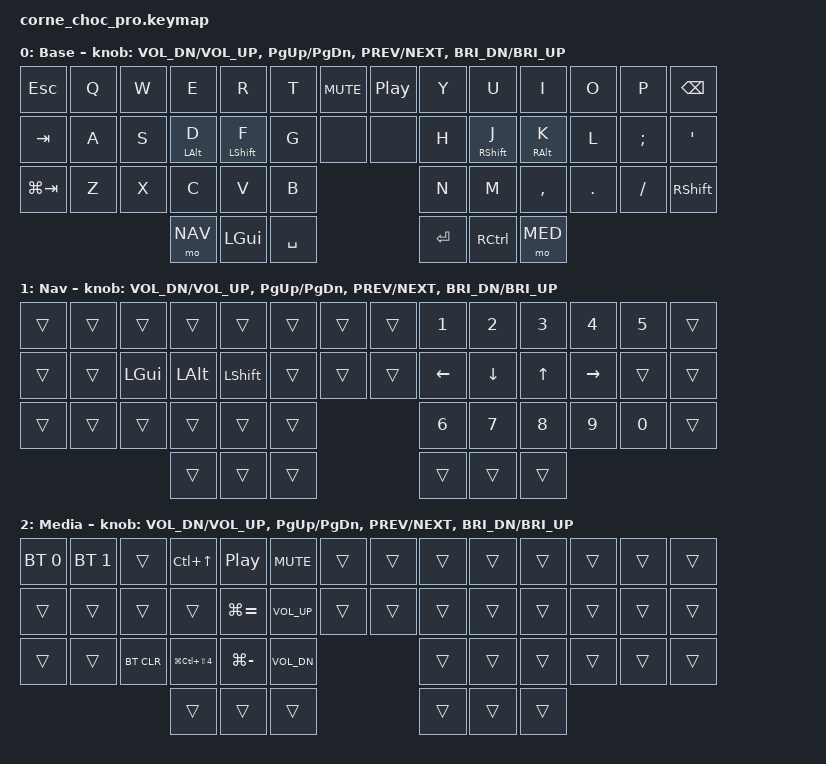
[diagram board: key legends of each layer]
/*
 * Keebart Corne Choc Pro BT — ZMK Config
 * Adapted from 42-key Corne config for 46-key Keebart layout
 *
 * Base: QWERTY with timeless homerow mods (Shift on F/J, Option on D/K)
 * Layer 1: Numbers + Navigation (HJKL arrows)
 * Layer 2: Media + Bluetooth
 * Combos: Brackets, symbols, editing shortcuts
 *
 * Key position reference (46-key Keebart Corne Choc Pro):
 *
 *  0  1  2  3  4  5  6       7  8  9 10 11 12 13
 * 14 15 16 17 18 19 20      21 22 23 24 25 26 27
 * 28 29 30 31 32 33             34 35 36 37 38 39
 *             40 41 42      43 44 45
 *
 * Positions 6/7 and 20/21 are encoder keys (inner columns).
 * Row 2 has no encoder column. Thumbs are 40-45.
 */

#include <behaviors.dtsi>
#include <dt-bindings/zmk/keys.h>
#include <dt-bindings/zmk/bt.h>

#define DEF 0
#define NAV 1
#define MED 2

/* Key position groups for cross-hand homerow mods */
#define KEYS_L 0 1 2 3 4 5 6 14 15 16 17 18 19 20 28 29 30 31 32 33
#define KEYS_R 7 8 9 10 11 12 13 21 22 23 24 25 26 27 34 35 36 37 38 39
#define THUMBS 40 41 42 43 44 45

/* Combo timing */
#define COMBO_TERM_FAST 18
#define COMBO_TERM_SLOW 30
#define COMBO_IDLE_FAST 150
#define COMBO_IDLE_SLOW 50

/ {
    chosen {
        zmk,physical-layout = &default_layout;
    };
};

/ {
    /* ── Behaviors ─────────────────────────────────────────────── */

    behaviors {
        /* Timeless homerow mod — left hand (triggers on right-hand keys) */
        hml: homerow_mod_left {
            compatible = "zmk,behavior-hold-tap";
            #binding-cells = <2>;
            flavor = "balanced";
            tapping-term-ms = <280>;
            quick-tap-ms = <175>;
            require-prior-idle-ms = <150>;
            bindings = <&kp>, <&kp>;
            hold-trigger-key-positions = <KEYS_R THUMBS>;
            hold-trigger-on-release;
        };

        /* Timeless homerow mod — right hand (triggers on left-hand keys) */
        hmr: homerow_mod_right {
            compatible = "zmk,behavior-hold-tap";
            #binding-cells = <2>;
            flavor = "balanced";
            tapping-term-ms = <280>;
            quick-tap-ms = <175>;
            require-prior-idle-ms = <150>;
            bindings = <&kp>, <&kp>;
            hold-trigger-key-positions = <KEYS_L THUMBS>;
            hold-trigger-on-release;
        };
    };

    /* ── Combos ────────────────────────────────────────────────── */
    /*
     * Positions remapped from 42-key Corne to 46-key Keebart.
     * Horizontal combos use fast timing (18ms), vertical use slow (30ms).
     */

    combos {
        compatible = "zmk,combos";

        /* ── Horizontal combos (fast timing) ── */

        /* Left hand — editing */
        combo_cut {
            timeout-ms = <COMBO_TERM_FAST>;
            key-positions = <30 32>;         // X + V (skip C)
            bindings = <&kp LG(X)>;
            layers = <DEF NAV MED>;
            require-prior-idle-ms = <COMBO_IDLE_FAST>;
        };

        combo_copy {
            timeout-ms = <COMBO_TERM_FAST>;
            key-positions = <30 31>;         // X + C
            bindings = <&kp LG(C)>;
            layers = <DEF NAV MED>;
            require-prior-idle-ms = <COMBO_IDLE_FAST>;
        };

        combo_paste {
            timeout-ms = <COMBO_TERM_FAST>;
            key-positions = <31 32>;         // C + V
            bindings = <&kp LG(V)>;
            layers = <DEF NAV MED>;
            require-prior-idle-ms = <COMBO_IDLE_FAST>;
        };

        /* Right hand — deletion */
        combo_bspc {
            timeout-ms = <COMBO_TERM_FAST>;
            key-positions = <9 10>;          // U + I
            bindings = <&kp BSPC>;
            layers = <DEF NAV MED>;
            require-prior-idle-ms = <COMBO_IDLE_FAST>;
        };

        combo_del {
            timeout-ms = <COMBO_TERM_FAST>;
            key-positions = <10 11>;         // I + O
            bindings = <&kp DEL>;
            layers = <DEF NAV MED>;
            require-prior-idle-ms = <COMBO_IDLE_FAST>;
        };

        /* Right hand — brackets (shift+[] gives {}) */
        combo_lbkt {
            timeout-ms = <COMBO_TERM_FAST>;
            key-positions = <23 24>;         // J + K → [
            bindings = <&kp LBKT>;
            layers = <DEF NAV MED>;
            require-prior-idle-ms = <COMBO_IDLE_FAST>;
        };

        combo_rbkt {
            timeout-ms = <COMBO_TERM_FAST>;
            key-positions = <24 25>;         // K + L → ]
            bindings = <&kp RBKT>;
            layers = <DEF NAV MED>;
            require-prior-idle-ms = <COMBO_IDLE_FAST>;
        };

        combo_lpar {
            timeout-ms = <COMBO_TERM_FAST>;
            key-positions = <35 36>;         // M + ,
            bindings = <&kp LPAR>;
            layers = <DEF NAV MED>;
            require-prior-idle-ms = <COMBO_IDLE_FAST>;
        };

        combo_rpar {
            timeout-ms = <COMBO_TERM_FAST>;
            key-positions = <36 37>;         // , + .
            bindings = <&kp RPAR>;
            layers = <DEF NAV MED>;
            require-prior-idle-ms = <COMBO_IDLE_FAST>;
        };

        /* ── Vertical combos (slower timing) ── */

        /* Left hand — top to middle row */
        combo_at {
            timeout-ms = <COMBO_TERM_SLOW>;
            key-positions = <2 16>;          // W + S
            bindings = <&kp AT>;
            layers = <DEF NAV MED>;
            require-prior-idle-ms = <COMBO_IDLE_SLOW>;
        };

        combo_hash {
            timeout-ms = <COMBO_TERM_SLOW>;
            key-positions = <3 17>;          // E + D
            bindings = <&kp HASH>;
            layers = <DEF NAV MED>;
            require-prior-idle-ms = <COMBO_IDLE_SLOW>;
        };

        combo_dllr {
            timeout-ms = <COMBO_TERM_SLOW>;
            key-positions = <4 18>;          // R + F
            bindings = <&kp DLLR>;
            layers = <DEF NAV MED>;
            require-prior-idle-ms = <COMBO_IDLE_SLOW>;
        };

        combo_prcnt {
            timeout-ms = <COMBO_TERM_SLOW>;
            key-positions = <5 19>;          // T + G
            bindings = <&kp PRCNT>;
            layers = <DEF NAV MED>;
            require-prior-idle-ms = <COMBO_IDLE_SLOW>;
        };

        combo_excl {
            timeout-ms = <COMBO_TERM_SLOW>;
            key-positions = <1 15>;          // Q + A
            bindings = <&kp EXCL>;
            layers = <DEF NAV MED>;
            require-prior-idle-ms = <COMBO_IDLE_SLOW>;
        };

        /* Left hand — middle to bottom row */
        combo_grave {
            timeout-ms = <COMBO_TERM_SLOW>;
            key-positions = <11 25>;         // O + L
            bindings = <&kp GRAVE>;
            layers = <DEF NAV MED>;
            require-prior-idle-ms = <COMBO_IDLE_SLOW>;
        };

        combo_equal {
            timeout-ms = <COMBO_TERM_SLOW>;
            key-positions = <25 37>;         // L + .
            bindings = <&kp EQUAL>;
            layers = <DEF NAV MED>;
            require-prior-idle-ms = <COMBO_IDLE_SLOW>;
        };

        combo_tilde {
            timeout-ms = <COMBO_TERM_SLOW>;
            key-positions = <26 38>;         // ; + /
            bindings = <&kp TILDE>;
            layers = <DEF NAV MED>;
            require-prior-idle-ms = <COMBO_IDLE_SLOW>;
        };

        /* Right hand — top to middle row */
        combo_minus {
            timeout-ms = <COMBO_TERM_SLOW>;
            key-positions = <8 22>;          // Y + H
            bindings = <&kp MINUS>;
            layers = <DEF NAV MED>;
            require-prior-idle-ms = <COMBO_IDLE_SLOW>;
        };

        combo_plus {
            timeout-ms = <COMBO_TERM_SLOW>;
            key-positions = <9 23>;          // U + J
            bindings = <&kp PLUS>;
            layers = <DEF NAV MED>;
            require-prior-idle-ms = <COMBO_IDLE_SLOW>;
        };

        combo_star {
            timeout-ms = <COMBO_TERM_SLOW>;
            key-positions = <10 24>;         // I + K
            bindings = <&kp STAR>;
            layers = <DEF NAV MED>;
            require-prior-idle-ms = <COMBO_IDLE_SLOW>;
        };

        /* Right hand — middle to bottom row */
        combo_amps {
            timeout-ms = <COMBO_TERM_SLOW>;
            key-positions = <24 36>;         // K + ,
            bindings = <&kp AMPS>;
            layers = <DEF NAV MED>;
            require-prior-idle-ms = <COMBO_IDLE_SLOW>;
        };

        combo_under {
            timeout-ms = <COMBO_TERM_SLOW>;
            key-positions = <22 34>;         // H + N
            bindings = <&kp UNDER>;
            layers = <DEF NAV MED>;
            require-prior-idle-ms = <COMBO_IDLE_SLOW>;
        };

        combo_caret {
            timeout-ms = <COMBO_TERM_SLOW>;
            key-positions = <23 35>;         // J + M
            bindings = <&kp CARET>;
            layers = <DEF NAV MED>;
            require-prior-idle-ms = <COMBO_IDLE_SLOW>;
        };

        /* Backslash combo — P + ; (vertical) */
        combo_bslh {
            timeout-ms = <COMBO_TERM_SLOW>;
            key-positions = <12 26>;         // P + ; → \ (shift → |)
            bindings = <&kp BSLH>;
            layers = <DEF NAV MED>;
            require-prior-idle-ms = <COMBO_IDLE_SLOW>;
        };

        /* Tmux leader — U + H → Ctrl+P */
        combo_tmux {
            timeout-ms = <COMBO_TERM_SLOW>;
            key-positions = <9 22>;          // U + H (diagonal)
            bindings = <&kp LC(P)>;
            layers = <DEF NAV MED>;
            require-prior-idle-ms = <COMBO_IDLE_SLOW>;
        };

        /* ZMK Studio unlock — press left + right inner bottom keys (B + N) */
        combo_studio_unlock {
            timeout-ms = <COMBO_TERM_SLOW>;
            key-positions = <33 34>;         // B + N
            bindings = <&studio_unlock>;
        };

    };

    /* ── Keymap ────────────────────────────────────────────────── */

    keymap {
        compatible = "zmk,keymap";

        default_layer {
            display-name = "Base";
            // ┌───────┬──────┬──────┬──────┬──────┬──────┬──────┐   ┌──────┬──────┬──────┬──────┬──────┬──────┬──────┐
            // │  ESC  │  Q   │  W   │  E   │  R   │  T   │ MUTE │   │  PP  │  Y   │  U   │  I   │  O   │  P   │ BSPC │
            // ├───────┼──────┼──────┼──────┼──────┼──────┼──────┤   ├──────┼──────┼──────┼──────┼──────┼──────┼──────┤
            // │  TAB  │  A   │  S   │D/OPT │F/SFT │  G   │      │   │      │  H   │J/SFT │K/OPT │  L   │  ;   │  '   │
            // ├───────┼──────┼──────┼──────┼──────┼──────┘      │   │      └──────┼──────┼──────┼──────┼──────┼──────┤
            // │CMD+TAB│  Z   │  X   │  C   │  V   │  B   │      │   │      │  N   │  M   │  ,   │  .   │  /   │SHIFT │
            // └───────┴──────┴──────┼──────┼──────┼──────┘      │   │      └──────┼──────┼──────┼──────┴──────┴──────┘
            //                       │*NAV* │ GUI  │SPACE │      │   │      │ENTER │ CTRL │*MED* │
            //                       └──────┴──────┴──────┘      │   │      └──────┴──────┴──────┘
            bindings = <
                &kp ESC     &kp Q   &kp W   &kp E         &kp R         &kp T       &kp C_MUTE   &kp C_PP   &kp Y   &kp U         &kp I         &kp O    &kp P    &kp BSPC
                &kp TAB     &kp A   &kp S   &hml LALT D   &hml LSHFT F  &kp G       &none        &none      &kp H   &hmr RSHFT J  &hmr RALT K   &kp L    &kp SEMI &kp SQT
                &kp LG(TAB) &kp Z   &kp X   &kp C         &kp V         &kp B                               &kp N   &kp M         &kp COMMA     &kp DOT  &kp FSLH &kp RSHFT
                                             &mo NAV       &kp LGUI      &kp SPACE                           &kp ENTER &kp RCTRL   &mo MED
            >;
            sensor-bindings = <&inc_dec_kp C_VOL_DN C_VOL_UP &inc_dec_kp PG_UP PG_DN &inc_dec_kp C_PREV C_NEXT &inc_dec_kp C_BRI_DN C_BRI_UP>;
        };

        nav_layer {
            display-name = "Nav";
            // ┌──────┬──────┬──────┬──────┬──────┬──────┬──────┐   ┌──────┬──────┬──────┬──────┬──────┬──────┬──────┐
            // │      │      │      │      │      │      │      │   │      │  1   │  2   │  3   │  4   │  5   │      │
            // ├──────┼──────┼──────┼──────┼──────┼──────┼──────┤   ├──────┼──────┼──────┼──────┼──────┼──────┼──────┤
            // │      │      │      │      │      │      │      │   │      │ LEFT │ DOWN │  UP  │RIGHT │      │      │
            // ├──────┼──────┼──────┼──────┼──────┼──────┘      │   │      └──────┼──────┼──────┼──────┼──────┼──────┤
            // │      │      │      │      │      │      │      │   │      │  6   │  7   │  8   │  9   │  0   │      │
            // └──────┴──────┴──────┼──────┼──────┼──────┘      │   │      └──────┼──────┼──────┼──────┴──────┴──────┘
            //                      │      │      │      │      │   │      │      │      │      │
            //                      └──────┴──────┴──────┘      │   │      └──────┴──────┴──────┘
            bindings = <
                &trans  &trans  &trans  &trans  &trans  &trans  &trans   &trans  &kp N1    &kp N2    &kp N3  &kp N4     &kp N5  &trans
                &trans  &trans  &kp LGUI &kp LALT &kp LSHFT &trans &trans  &trans  &kp LEFT  &kp DOWN  &kp UP  &kp RIGHT  &trans  &trans
                &trans  &trans  &trans  &trans  &trans  &trans                   &kp N6    &kp N7    &kp N8  &kp N9     &kp N0  &trans
                                        &trans  &trans  &trans                   &trans    &trans    &trans
            >;
            sensor-bindings = <&inc_dec_kp C_VOL_DN C_VOL_UP &inc_dec_kp PG_UP PG_DN &inc_dec_kp C_PREV C_NEXT &inc_dec_kp C_BRI_DN C_BRI_UP>;
        };

        media_layer {
            display-name = "Media";
            // ┌──────┬──────┬──────┬──────┬──────┬──────┬──────┐   ┌──────┬──────┬──────┬──────┬──────┬──────┬──────┐
            // │ BT 0 │ BT 1 │      │MC/C↑ │ PLAY │ MUTE │      │   │      │      │      │      │      │      │      │
            // ├──────┼──────┼──────┼──────┼──────┼──────┼──────┤   ├──────┼──────┼──────┼──────┼──────┼──────┼──────┤
            // │      │      │      │      │ZOOM +│VOL UP│      │   │      │      │      │      │      │      │      │
            // ├──────┼──────┼──────┼──────┼──────┼──────┘      │   │      └──────┼──────┼──────┼──────┼──────┼──────┤
            // │      │      │BT CLR│SCRNSHT│ZOOM-│VOL DN│      │   │      │      │      │      │      │      │      │
            // └──────┴──────┴──────┼──────┼──────┼──────┘      │   │      └──────┼──────┼──────┼──────┴──────┴──────┘
            //                      │      │      │      │      │   │      │      │      │      │
            //                      └──────┴──────┴──────┘      │   │      └──────┴──────┴──────┘
            bindings = <
                &bt BT_SEL 0  &bt BT_SEL 1  &trans      &kp LC(UP)         &kp C_PP       &kp C_MUTE  &trans   &trans  &trans  &trans  &trans  &trans  &trans  &trans
                &trans        &trans         &trans      &trans              &kp LG(EQUAL)  &kp C_VOL_UP &trans  &trans  &trans  &trans  &trans  &trans  &trans  &trans
                &trans        &trans         &bt BT_CLR  &kp LG(LC(LS(N4))) &kp LG(MINUS)  &kp C_VOL_DN                 &trans  &trans  &trans  &trans  &trans  &trans
                                                         &trans             &trans         &trans                        &trans  &trans  &trans
            >;
            sensor-bindings = <&inc_dec_kp C_VOL_DN C_VOL_UP &inc_dec_kp PG_UP PG_DN &inc_dec_kp C_PREV C_NEXT &inc_dec_kp C_BRI_DN C_BRI_UP>;
        };
    };
};
